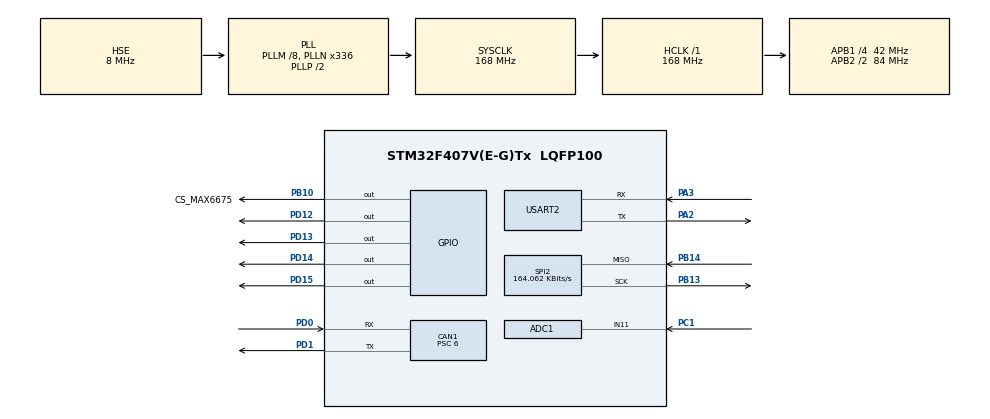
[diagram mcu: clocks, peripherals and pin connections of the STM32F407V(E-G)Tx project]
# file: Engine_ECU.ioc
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ADC1.Channel-6\#ChannelRegularConversion=ADC_CHANNEL_11
ADC1.NbrOfConversionFlag=1
ADC1.Rank-6\#ChannelRegularConversion=1
ADC1.SamplingTime-6\#ChannelRegularConversion=ADC_SAMPLETIME_3CYCLES
ADC1.master=1
CAN1.ABOM=ENABLE
CAN1.BS1=CAN_BS1_11TQ
CAN1.BS2=CAN_BS2_2TQ
CAN1.CalculateBaudRate=500000
CAN1.CalculateTimeBit=2000
CAN1.CalculateTimeQuantum=142.85714285714286
CAN1.NART=ENABLE
CAN1.Prescaler=6
FREERTOS.Tasks01=SensorTask,24,512,Task_SensorRead,Default,NULL,Dynamic,NULL,NULL;CANTask,24,512,Task_CANTransmit,Default,NULL,Dynamic,NULL,NULL;FaultTask,32,512,Task_FaultDetect,Default,NULL,Dynamic,NULL,NULL;LEDTask,16,128,Task_LEDHeartbeat,Default,NULL,Dynamic,NULL,NULL
Mcu.Family=STM32F4
Mcu.Name=STM32F407V(E-G)Tx
Mcu.Package=LQFP100
NVIC.CAN1_RX0_IRQn=true\:5\:0\:false\:false\:true\:true\:true\:true\:true
NVIC.PriorityGroup=NVIC_PRIORITYGROUP_4
PA2.Mode=Asynchronous
PA2.Signal=USART2_TX
PA3.Mode=Asynchronous
PA3.Signal=USART2_RX
PB10.GPIO_Label=CS_MAX6675
PB10.Signal=GPIO_Output
PB13.Mode=RX_Only_Simplex_Unidirect_Master
PB13.Signal=SPI2_SCK
PB14.Mode=RX_Only_Simplex_Unidirect_Master
PB14.Signal=SPI2_MISO
PC1.Signal=ADCx_IN11
PD0.Mode=CAN_Activate
PD0.Signal=CAN1_RX
PD1.Mode=CAN_Activate
PD1.Signal=CAN1_TX
PD12.Signal=GPIO_Output
PD13.Signal=GPIO_Output
PD14.Signal=GPIO_Output
PD15.Signal=GPIO_Output
PH0-OSC_IN.Mode=HSE-External-Oscillator
PH0-OSC_IN.Signal=RCC_OSC_IN
PH1-OSC_OUT.Mode=HSE-External-Oscillator
PH1-OSC_OUT.Signal=RCC_OSC_OUT
ProjectManager.HeapSize=0x200
ProjectManager.StackSize=0x400
ProjectManager.TargetToolchain=STM32CubeIDE
RCC.48MHZClocksFreq_Value=48000000
RCC.AHBFreq_Value=168000000
RCC.APB1CLKDivider=RCC_HCLK_DIV4
RCC.APB1Freq_Value=42000000
RCC.APB1TimFreq_Value=84000000
RCC.APB2CLKDivider=RCC_HCLK_DIV2
RCC.APB2Freq_Value=84000000
RCC.APB2TimFreq_Value=168000000
RCC.CortexFreq_Value=168000000
RCC.HCLKFreq_Value=168000000
RCC.HSE_VALUE=8000000
RCC.HSI_VALUE=16000000
RCC.LSE_VALUE=32768
RCC.PLLM=8
RCC.PLLN=336
RCC.PLLQ=7
RCC.PLLSourceVirtual=RCC_PLLSOURCE_HSE
RCC.SYSCLKFreq_VALUE=168000000
RCC.SYSCLKSource=RCC_SYSCLKSOURCE_PLLCLK
RCC.VCOOutputFreq_Value=336000000
SH.ADCx_IN11.0=ADC1_IN11,IN11
SPI2.BaudRatePrescaler=SPI_BAUDRATEPRESCALER_256
SPI2.CLKPhase=SPI_PHASE_2EDGE
SPI2.CalculateBaudRate=164.062 KBits/s
SPI2.Direction=SPI_DIRECTION_2LINES_RXONLY
SPI2.Mode=SPI_MODE_MASTER
SPI2.VirtualType=VM_MASTER
USART2.VirtualMode=VM_ASYNC
VP_FREERTOS_VS_CMSIS_V2.Mode=CMSIS_V2
board=STM32F407G-DISC1

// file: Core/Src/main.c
/* USER CODE BEGIN Header */
/**
  ******************************************************************************
  * @file           : main.c
  * @brief          : Engine ECU — Board 1 — STM32F407 Discovery
  *                   CAN Bus ECU Simulator — Production Firmware v2.1
  *
  * FIX LOG (v2 → v2.1):
  *   1. Flame sensor removed entirely (was PB1) — no hardware, no logic
  *   2. Joystick ADC changed to ADC1_IN11 on PC1
  *      → MX_ADC1_Init() must configure Channel 11 (PC1)
  *   3. RPM + Speed computed atomically in same step — both update together
  *   4. Temperature: no changes needed — MAX6675 via SPI2 working correctly
  *   5. FaultDetect: flame-related branches removed, overtemp still active
  *   6. CAN 0x103 relay byte: now only overtemp (flame removed)
  *   7. UART dashboard: Flame column removed
  ******************************************************************************
  */
/* USER CODE END Header */

#include "main.h"
#include "cmsis_os.h"
#include "adc.h"
#include "can.h"
#include "spi.h"
#include "usart.h"
#include "gpio.h"

/* USER CODE BEGIN Includes */
#include <stdio.h>
#include <string.h>
/* USER CODE END Includes */

/* USER CODE BEGIN PD */
/* Overtemperature threshold — 40.0°C for room-temp demo.
   Change to 800.0f for real automotive use. */
#define OVERTEMP_THRESHOLD_C   40.0f

#define RPM_MIN   800U
#define RPM_MAX   15000U
/* USER CODE END PD */

/* USER CODE BEGIN PV */
typedef enum {
    SYS_NORMAL  = 0,
    SYS_FAULT   = 1,
    SYS_LIMP    = 2,
    SYS_RECOVER = 3
} SystemState_t;

/* ── Shared sensor data ── */
volatile uint16_t      g_rpm          = RPM_MIN;
volatile uint8_t       g_speed        = 0;
volatile float         g_engTemp      = 25.0f;
/* g_flameSeen REMOVED */

/* ── State machine ── */
volatile uint8_t       g_faultActive  = 0;
volatile SystemState_t g_sysState     = SYS_NORMAL;
volatile uint32_t      g_faultTimer   = 0;
volatile uint32_t      g_limpTimer    = 0;
volatile uint32_t      g_recoverTimer = 0;

/* ── Raw ADC (PC1 / ADC1_IN11) ── */
volatile uint32_t      g_adcRaw       = 0;

/* ── Buzzer ── */
volatile uint8_t       g_buzzerFlag   = 0;
volatile uint8_t       g_buzzerBeeps  = 0;

/* ── CAN TX ── */
CAN_TxHeaderTypeDef    g_txHeader;
uint8_t                g_txData[8];
uint32_t               g_txMailbox;
/* USER CODE END PV */

/* Private function prototypes */
void SystemClock_Config(void);
void MX_FREERTOS_Init(void);

/* USER CODE BEGIN PFP */
static void  Task_SensorRead   (void *argument);
static void  Task_CANTransmit  (void *argument);
static void  Task_FaultDetect  (void *argument);
static void  Task_LEDHeartbeat (void *argument);
static float MAX6675_ReadTemp  (void);
static void  UART_Log          (const char *msg);
static void  DTC_Transmit      (uint8_t b1, uint8_t b2, uint8_t b3);
static void  Buzzer_Beep       (uint8_t times);
/* USER CODE END PFP */

/* USER CODE BEGIN 0 */

/* ── UART_Log ── */
static void UART_Log(const char *msg)
{
    HAL_UART_Transmit(&huart2, (const uint8_t *)msg, strlen(msg), 200);
}

/* ── Buzzer_Beep ── */
static void Buzzer_Beep(uint8_t times)
{
    for (uint8_t i = 0; i < times; i++) {
        HAL_GPIO_WritePin(GPIOE, GPIO_PIN_0, GPIO_PIN_SET);
        osDelay(200);
        HAL_GPIO_WritePin(GPIOE, GPIO_PIN_0, GPIO_PIN_RESET);
        osDelay(150);
    }
}

/* ── DTC_Transmit ── */
static void DTC_Transmit(uint8_t b1, uint8_t b2, uint8_t b3)
{
    CAN_TxHeaderTypeDef hdr;
    uint8_t  d[3];
    uint32_t mb;

    hdr.StdId              = 0x1FF;
    hdr.IDE                = CAN_ID_STD;
    hdr.RTR                = CAN_RTR_DATA;
    hdr.DLC                = 3;
    hdr.TransmitGlobalTime = DISABLE;

    d[0] = b1;  d[1] = b2;  d[2] = b3;
    HAL_CAN_AddTxMessage(&hcan1, &hdr, d, &mb);
}

/* ── MAX6675_ReadTemp ──
   Reads K-type thermocouple via SPI2, PB10 = CS.
   Returns °C (0.25°C resolution), or -1.0f if open-circuit.               */
static float MAX6675_ReadTemp(void)
{
    uint8_t  rx[2] = {0, 0};
    uint16_t raw;

    HAL_GPIO_WritePin(GPIOB, GPIO_PIN_10, GPIO_PIN_RESET); /* CS LOW  */
    osDelay(1);
    HAL_SPI_Receive(&hspi2, rx, 2, 100);
    HAL_GPIO_WritePin(GPIOB, GPIO_PIN_10, GPIO_PIN_SET);   /* CS HIGH */

    raw = ((uint16_t)rx[0] << 8) | rx[1];

    if (raw & 0x0004) {
        UART_Log("[TEMP] Open-circuit — check thermocouple wiring\r\n");
        return -1.0f;
    }

    raw >>= 3;
    return (float)raw * 0.25f;
}

/* USER CODE END 0 */

int main(void)
{

  HAL_Init();

  SystemClock_Config();

  MX_GPIO_Init();
  MX_ADC1_Init();    /* !! Must configure ADC1 Channel 11 (PC1) in CubeMX !! */
  MX_CAN1_Init();
  MX_SPI2_Init();
  MX_USART2_UART_Init();

  /* USER CODE BEGIN 2 */
  UART_Log("\r\n");
  UART_Log("================================================\r\n");
  UART_Log("  ENGINE ECU  |  STM32F407  |  Firmware v2.1  \r\n");
  UART_Log("  CAN Bus ECU Simulator — Automotive Demo      \r\n");
  UART_Log("  Joystick    : PC1 / ADC1_IN11               \r\n");
  UART_Log("  Overtemp    : 40.0 C (room demo)             \r\n");
  UART_Log("  Max RPM     : 15000                          \r\n");
  UART_Log("  Flame sensor: DISABLED                       \r\n");
  UART_Log("================================================\r\n\r\n");

  /* MAX6675 CS idle-high */
  HAL_GPIO_WritePin(GPIOB, GPIO_PIN_10, GPIO_PIN_SET);

  /* Buzzer off */
  HAL_GPIO_WritePin(GPIOE, GPIO_PIN_0, GPIO_PIN_RESET);

  /* CAN1 receive filter — pass all frames */
  {
      CAN_FilterTypeDef flt;
      flt.FilterBank           = 0;
      flt.FilterMode           = CAN_FILTERMODE_IDMASK;
      flt.FilterScale          = CAN_FILTERSCALE_32BIT;
      flt.FilterIdHigh         = 0x0000;
      flt.FilterIdLow          = 0x0000;
      flt.FilterMaskIdHigh     = 0x0000;
      flt.FilterMaskIdLow      = 0x0000;
      flt.FilterFIFOAssignment = CAN_RX_FIFO0;
      flt.FilterActivation     = ENABLE;
      flt.SlaveStartFilterBank = 14;

      if (HAL_CAN_ConfigFilter(&hcan1, &flt) != HAL_OK) {
          UART_Log("[INIT] ERROR: CAN1 filter config FAILED\r\n");
          Error_Handler();
      }
  }
  UART_Log("[INIT] CAN1 filter     : OK\r\n");

  if (HAL_CAN_Start(&hcan1) != HAL_OK) {
      UART_Log("[INIT] ERROR: CAN1 start FAILED\r\n");
      Error_Handler();
  }
  UART_Log("[INIT] CAN1 bus        : Running @ 500 kbps\r\n");

  /* TX header static fields */
  g_txHeader.IDE                = CAN_ID_STD;
  g_txHeader.RTR                = CAN_RTR_DATA;
  g_txHeader.TransmitGlobalTime = DISABLE;

  /* Startup beep — 1 short = system ready */
  HAL_GPIO_WritePin(GPIOE, GPIO_PIN_0, GPIO_PIN_SET);
  HAL_Delay(300);
  HAL_GPIO_WritePin(GPIOE, GPIO_PIN_0, GPIO_PIN_RESET);

  UART_Log("[INIT] Peripherals     : OK\r\n");
  UART_Log("[INIT] Starting FreeRTOS...\r\n\r\n");

  osThreadNew(Task_SensorRead,   NULL,
      &(const osThreadAttr_t){ .name="SensorRead",
          .stack_size = 512 * 4,
          .priority   = osPriorityNormal });

  osThreadNew(Task_CANTransmit,  NULL,
      &(const osThreadAttr_t){ .name="CANTransmit",
          .stack_size = 512 * 4,
          .priority   = osPriorityNormal });

  osThreadNew(Task_FaultDetect,  NULL,
      &(const osThreadAttr_t){ .name="FaultDetect",
          .stack_size = 512 * 4,
          .priority   = osPriorityAboveNormal });

  osThreadNew(Task_LEDHeartbeat, NULL,
      &(const osThreadAttr_t){ .name="LEDHeart",
          .stack_size = 256 * 4,
          .priority   = osPriorityBelowNormal });

  /* USER CODE END 2 */

  osKernelInitialize();
  MX_FREERTOS_Init();
  osKernelStart();

  while (1) {}
}

/* ── SystemClock_Config ── */
void SystemClock_Config(void)
{
  RCC_OscInitTypeDef RCC_OscInitStruct = {0};
  RCC_ClkInitTypeDef RCC_ClkInitStruct = {0};

  __HAL_RCC_PWR_CLK_ENABLE();
  __HAL_PWR_VOLTAGESCALING_CONFIG(PWR_REGULATOR_VOLTAGE_SCALE1);

  RCC_OscInitStruct.OscillatorType = RCC_OSCILLATORTYPE_HSE;
  RCC_OscInitStruct.HSEState       = RCC_HSE_ON;
  RCC_OscInitStruct.PLL.PLLState   = RCC_PLL_ON;
  RCC_OscInitStruct.PLL.PLLSource  = RCC_PLLSOURCE_HSE;
  RCC_OscInitStruct.PLL.PLLM       = 8;
  RCC_OscInitStruct.PLL.PLLN       = 336;
  RCC_OscInitStruct.PLL.PLLP       = RCC_PLLP_DIV2;
  RCC_OscInitStruct.PLL.PLLQ       = 7;
  if (HAL_RCC_OscConfig(&RCC_OscInitStruct) != HAL_OK) Error_Handler();

  RCC_ClkInitStruct.ClockType      = RCC_CLOCKTYPE_HCLK | RCC_CLOCKTYPE_SYSCLK
                                   | RCC_CLOCKTYPE_PCLK1 | RCC_CLOCKTYPE_PCLK2;
  RCC_ClkInitStruct.SYSCLKSource   = RCC_SYSCLKSOURCE_PLLCLK;
  RCC_ClkInitStruct.AHBCLKDivider  = RCC_SYSCLK_DIV1;
  RCC_ClkInitStruct.APB1CLKDivider = RCC_HCLK_DIV4;
  RCC_ClkInitStruct.APB2CLKDivider = RCC_HCLK_DIV2;
  if (HAL_RCC_ClockConfig(&RCC_ClkInitStruct, FLASH_LATENCY_5) != HAL_OK) Error_Handler();
}

/* USER CODE BEGIN 4 */

/* ══════════════════════════════════════════════════════════════════
   Task_SensorRead  |  Priority: Normal  |  Period: 50 ms
   ─────────────────────────────────────────────────────────────────
   Joystick on PC1 / ADC1_IN11:
     - ADC reads PC1 (configured as ADC1_IN11 in CubeMX)
     - Maps 0–4095 → RPM_MIN–RPM_MAX
     - Speed computed atomically right after RPM — both update together
   Temperature:
     - MAX6675 read every cycle via SPI2
   Flame sensor:
     - REMOVED entirely
   ══════════════════════════════════════════════════════════════════ */
static void Task_SensorRead(void *argument)
{
    for (;;)
    {
        /* ── ADC read: PC1 / ADC1_IN11 ──────────────────────────────────
           CubeMX must have ADC1 Channel 11 selected with PC1 as analog.
           No code change needed here beyond using hadc1 as configured.   */
        HAL_ADC_Start(&hadc1);
        if (HAL_ADC_PollForConversion(&hadc1, 10) == HAL_OK)
            g_adcRaw = HAL_ADC_GetValue(&hadc1);
        HAL_ADC_Stop(&hadc1);

        /* ── Map ADC → joystick RPM (800–15000) ── */
        uint16_t joystickRPM = (uint16_t)(RPM_MIN +
                               ((g_adcRaw * (uint32_t)(RPM_MAX - RPM_MIN)) / 4095UL));

        /* ── State machine selects active RPM ── */
        uint16_t activeRPM;
        switch (g_sysState)
        {
            case SYS_NORMAL:  activeRPM = joystickRPM; break;
            case SYS_LIMP:    activeRPM = 1500U;        break;
            case SYS_FAULT:   activeRPM = 0xFFFFU;      break;
            case SYS_RECOVER: activeRPM = joystickRPM;  break;
            default:          activeRPM = RPM_MIN;       break;
        }
        g_rpm = activeRPM;

        /* ── Speed: computed atomically right after RPM ──────────────────
           Both g_rpm and g_speed are set in the same task iteration so
           they are always consistent when CANTransmit reads them.
           Formula: speed_kmh = rpm / 40, capped at 250 km/h.             */
        if (g_rpm == 0xFFFFU) {
            g_speed = 0U;
        } else {
            uint32_t spd = (uint32_t)g_rpm / 40U;
            g_speed = (spd > 250U) ? 250U : (uint8_t)spd;
        }

        /* ── Temperature: MAX6675 via SPI2 ── */
        float t = MAX6675_ReadTemp();
        if (t >= 0.0f)
            g_engTemp = t;

        /* ── Buzzer ── */
        if (g_buzzerFlag) {
            uint8_t n    = g_buzzerBeeps;
            g_buzzerFlag = 0;
            Buzzer_Beep(n);
        }

        osDelay(50);   /* 50 ms = 20 Hz update rate */
    }
}

/* ══════════════════════════════════════════════════════════════════
   Task_CANTransmit  |  Priority: Normal  |  Period: 10 ms
   ══════════════════════════════════════════════════════════════════ */
static const char *stateLabel[] = {"NORMAL", "FAULT ", "LIMP  ", "RECOV "};

static void Task_CANTransmit(void *argument)
{
    uint32_t lastPrint = 0;

    for (;;)
    {
        /* ── 0x100 — RPM (2 bytes, big-endian) ── */
        g_txHeader.StdId = 0x100;
        g_txHeader.DLC   = 2;
        g_txData[0] = (g_rpm >> 8) & 0xFF;
        g_txData[1] =  g_rpm & 0xFF;
        HAL_CAN_AddTxMessage(&hcan1, &g_txHeader, g_txData, &g_txMailbox);

        /* ── 0x101 — Speed (1 byte, km/h) ── */
        g_txHeader.StdId = 0x101;
        g_txHeader.DLC   = 1;
        g_txData[0]      = g_speed;
        HAL_CAN_AddTxMessage(&hcan1, &g_txHeader, g_txData, &g_txMailbox);

        /* ── 0x102 — Temperature × 10 (2 bytes, big-endian) ── */
        g_txHeader.StdId = 0x102;
        g_txHeader.DLC   = 2;
        {
            uint16_t tx10 = (uint16_t)(g_engTemp * 10.0f);
            g_txData[0] = (tx10 >> 8) & 0xFF;
            g_txData[1] =  tx10 & 0xFF;
        }
        HAL_CAN_AddTxMessage(&hcan1, &g_txHeader, g_txData, &g_txMailbox);

        /* ── 0x103 — Relay: 1 = overtemp only (flame sensor removed) ── */
        g_txHeader.StdId = 0x103;
        g_txHeader.DLC   = 1;
        g_txData[0] = (g_engTemp > OVERTEMP_THRESHOLD_C) ? 0x01U : 0x00U;
        HAL_CAN_AddTxMessage(&hcan1, &g_txHeader, g_txData, &g_txMailbox);

        /* ── 0x104 — System state ── */
        g_txHeader.StdId = 0x104;
        g_txHeader.DLC   = 1;
        g_txData[0]      = (uint8_t)g_sysState;
        HAL_CAN_AddTxMessage(&hcan1, &g_txHeader, g_txData, &g_txMailbox);

        /* ── 0x1FF — DTC if fault active ── */
        if (g_faultActive)
            DTC_Transmit(0x50, 0x03, 0x35); /* P0335 crankshaft sensor */

        /* ── UART dashboard — every 500 ms ── */
        uint32_t now = HAL_GetTick();
        if ((now - lastPrint) >= 500UL)
        {
            lastPrint = now;

            uint16_t displayRPM = (g_rpm == 0xFFFFU) ? 0U : g_rpm;

            char line[120];
            snprintf(line, sizeof(line),
                "[ ECU ] State:%-6s | RPM:%5u | Spd:%3u km/h | "
                "Tmp:%5.1f C | ADC:%4lu\r\n",
                stateLabel[g_sysState],
                (unsigned)displayRPM,
                (unsigned)g_speed,
                (double)g_engTemp,
                (unsigned long)g_adcRaw);
            UART_Log(line);
        }

        osDelay(10);
    }
}

/* ══════════════════════════════════════════════════════════════════
   Task_FaultDetect  |  Priority: AboveNormal  |  Period: 5 ms
   ─────────────────────────────────────────────────────────────────
   Flame sensor checks REMOVED.
   Remaining fault sources:
     • USER button PA0 (active-low) → P0335
     • Overtemperature              → P0217
   ══════════════════════════════════════════════════════════════════ */
/* ── Button debounce helper ─────────────────────────────────────────────────
   STM32F407 Discovery: PA0 USER button is ACTIVE-HIGH.
   Idle = GPIO_PIN_RESET (0), Pressed = GPIO_PIN_SET (1).
   Returns 1 only on a clean press+release with 50 ms debounce.             */
static uint8_t Button_PressDetected(void)
{
    /* Check pressed (HIGH) */
    if (HAL_GPIO_ReadPin(GPIOA, GPIO_PIN_0) == GPIO_PIN_SET)
    {
        osDelay(50);  /* debounce settle */
        if (HAL_GPIO_ReadPin(GPIOA, GPIO_PIN_0) == GPIO_PIN_SET)
        {
            /* Wait for release */
            while (HAL_GPIO_ReadPin(GPIOA, GPIO_PIN_0) == GPIO_PIN_SET)
                osDelay(10);
            osDelay(50);  /* debounce on release */
            return 1;
        }
    }
    return 0;
}

static void Task_FaultDetect(void *argument)
{
    osDelay(1000);
    for (;;)
    {
        uint32_t now = HAL_GetTick();

        switch (g_sysState)
        {
            /* ══ NORMAL ══ */
            case SYS_NORMAL:
                g_faultActive = 0;

                /* USER button (PA0 active-HIGH) → inject P0335
                   FIX: was checking GPIO_PIN_RESET (always true at idle!) */
                if (Button_PressDetected())
                {
                    UART_Log("\r\n[FSM] NORMAL → FAULT  (USER button — P0335 injected)\r\n");
                    g_sysState    = SYS_FAULT;
                    g_faultTimer  = now;
                    g_faultActive = 1;
                    g_rpm         = 0xFFFF;
                    DTC_Transmit(0x50, 0x03, 0x35);
                    g_buzzerBeeps = 3;
                    g_buzzerFlag  = 1;
                    break;
                }

                /* Overtemperature → P0217 */
                if (g_engTemp > OVERTEMP_THRESHOLD_C)
                {
                    char msg[80];
                    snprintf(msg, sizeof(msg),
                        "\r\n[FSM] NORMAL → FAULT  (Overtemp %.1fC > %.1fC — P0217)\r\n",
                        (double)g_engTemp, (double)OVERTEMP_THRESHOLD_C);
                    UART_Log(msg);
                    g_sysState    = SYS_FAULT;
                    g_faultTimer  = now;
                    g_faultActive = 1;
                    DTC_Transmit(0x50, 0x02, 0x17);
                    g_buzzerBeeps = 2;
                    g_buzzerFlag  = 1;
                }
                break;

            /* ══ FAULT ══ */
            case SYS_FAULT:
                if ((now - g_faultTimer) >= 3000UL)
                {
                    UART_Log("[FSM] FAULT  → LIMP   (3s timeout — engine limited)\r\n");
                    g_sysState    = SYS_LIMP;
                    g_limpTimer   = now;
                    g_rpm         = 1500;
                    g_faultActive = 0;
                    g_buzzerBeeps = 1;
                    g_buzzerFlag  = 1;
                }
                break;

            /* ══ LIMP ══ */
            case SYS_LIMP:
                g_rpm = 1500;

                /* Auto-recovery: 5 s + temp safe + button NOT pressed */
                if ((now - g_limpTimer) >= 5000UL)
                {
                    if (g_engTemp < OVERTEMP_THRESHOLD_C &&
                        HAL_GPIO_ReadPin(GPIOA, GPIO_PIN_0) == GPIO_PIN_RESET) /* idle=LOW */
                    {
                        UART_Log("[FSM] LIMP   → RECOVER (auto — sensors safe)\r\n");
                        g_sysState     = SYS_RECOVER;
                        g_recoverTimer = now;
                    }
                }

                /* Manual recovery via button press+release */
                if (Button_PressDetected())
                {
                    UART_Log("[FSM] LIMP   → RECOVER (manual button)\r\n");
                    g_sysState     = SYS_RECOVER;
                    g_recoverTimer = now;
                }
                break;

            /* ══ RECOVER ══ */
            case SYS_RECOVER:
                if ((now - g_recoverTimer) >= 2000UL)
                {
                    if (g_engTemp < OVERTEMP_THRESHOLD_C)
                    {
                        UART_Log("[FSM] RECOVER → NORMAL  (all sensors safe)\r\n");
                        DTC_Transmit(0x50, 0x0A, 0x01);
                        g_sysState    = SYS_NORMAL;
                        g_faultActive = 0;
                        g_rpm         = RPM_MIN;
                        g_buzzerBeeps = 2;
                        g_buzzerFlag  = 1;
                    }
                    else
                    {
                        UART_Log("[FSM] RECOVER → FAULT   (sensors still unsafe)\r\n");
                        g_sysState     = SYS_FAULT;
                        g_faultTimer   = now;
                        g_faultActive  = 1;
                        g_recoverTimer = now;
                    }
                }
                break;
        }

        osDelay(5);
    }
}

/* ══════════════════════════════════════════════════════════════════
   Task_LEDHeartbeat  |  Priority: BelowNormal  |  Period: 500 ms
   Green  PD12 solid  = NORMAL
   Red    PD14 solid  = FAULT
   Orange PD13 blink  = LIMP
   Green  PD12 blink  = RECOVER
   ══════════════════════════════════════════════════════════════════ */
static void Task_LEDHeartbeat(void *argument)
{
    for (;;)
    {
        HAL_GPIO_WritePin(GPIOD, GPIO_PIN_12 | GPIO_PIN_13 | GPIO_PIN_14, GPIO_PIN_RESET);

        switch (g_sysState)
        {
            case SYS_NORMAL:  HAL_GPIO_WritePin(GPIOD, GPIO_PIN_12, GPIO_PIN_SET); break;
            case SYS_FAULT:   HAL_GPIO_WritePin(GPIOD, GPIO_PIN_14, GPIO_PIN_SET); break;
            case SYS_LIMP:    HAL_GPIO_TogglePin(GPIOD, GPIO_PIN_13);              break;
            case SYS_RECOVER: HAL_GPIO_TogglePin(GPIOD, GPIO_PIN_12);              break;
        }

        osDelay(500);
    }
}

/* USER CODE END 4 */

void Error_Handler(void)
{
  /* USER CODE BEGIN Error_Handler_Debug */
  __disable_irq();
  HAL_GPIO_WritePin(GPIOD, GPIO_PIN_14, GPIO_PIN_SET);
  while (1) {}
  /* USER CODE END Error_Handler_Debug */
}

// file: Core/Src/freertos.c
/* USER CODE BEGIN Header */
/**
  ******************************************************************************
  * File Name          : freertos.c
  * Description        : Code for freertos applications
  ******************************************************************************
  * @attention
  *
  * Copyright (c) 2026 STMicroelectronics.
  * All rights reserved.
  *
  * This software is licensed under terms that can be found in the LICENSE file
  * in the root directory of this software component.
  * If no LICENSE file comes with this software, it is provided AS-IS.
  *
  ******************************************************************************
  */
/* USER CODE END Header */

#include "FreeRTOS.h"
#include "task.h"
#include "main.h"
#include "cmsis_os.h"

/* Definitions for SensorTask */
osThreadId_t SensorTaskHandle;
const osThreadAttr_t SensorTask_attributes = {
  .name = "SensorTask",
  .stack_size = 512 * 4,
  .priority = (osPriority_t) osPriorityNormal,
};
/* Definitions for CANTask */
osThreadId_t CANTaskHandle;
const osThreadAttr_t CANTask_attributes = {
  .name = "CANTask",
  .stack_size = 512 * 4,
  .priority = (osPriority_t) osPriorityNormal,
};
/* Definitions for FaultTask */
osThreadId_t FaultTaskHandle;
const osThreadAttr_t FaultTask_attributes = {
  .name = "FaultTask",
  .stack_size = 512 * 4,
  .priority = (osPriority_t) osPriorityAboveNormal,
};
/* Definitions for LEDTask */
osThreadId_t LEDTaskHandle;
const osThreadAttr_t LEDTask_attributes = {
  .name = "LEDTask",
  .stack_size = 128 * 4,
  .priority = (osPriority_t) osPriorityBelowNormal,
};

void Task_SensorRead(void *argument);
void Task_CANTransmit(void *argument);
void Task_FaultDetect(void *argument);
void Task_LEDHeartbeat(void *argument);

void MX_FREERTOS_Init(void); /* (MISRA C 2004 rule 8.1) */

void MX_FREERTOS_Init(void) {

  /* Create the thread(s) */
  /* creation of SensorTask */
  SensorTaskHandle = osThreadNew(Task_SensorRead, NULL, &SensorTask_attributes);

  /* creation of CANTask */
  CANTaskHandle = osThreadNew(Task_CANTransmit, NULL, &CANTask_attributes);

  /* creation of FaultTask */
  FaultTaskHandle = osThreadNew(Task_FaultDetect, NULL, &FaultTask_attributes);

  /* creation of LEDTask */
  LEDTaskHandle = osThreadNew(Task_LEDHeartbeat, NULL, &LEDTask_attributes);

}

void Task_SensorRead(void *argument)
{
  for(;;)
  {
    osDelay(1);
  }
}

void Task_CANTransmit(void *argument)
{
  for(;;)
  {
    osDelay(1);
  }
}

void Task_FaultDetect(void *argument)
{
  for(;;)
  {
    osDelay(1);
  }
}

void Task_LEDHeartbeat(void *argument)
{
  for(;;)
  {
    osDelay(1);
  }
}
